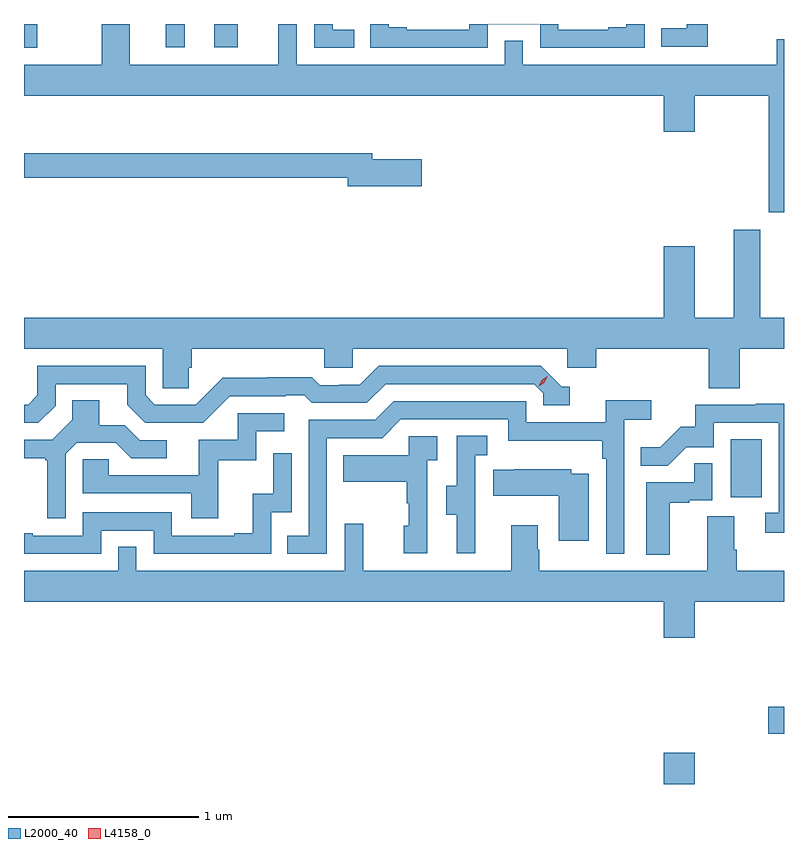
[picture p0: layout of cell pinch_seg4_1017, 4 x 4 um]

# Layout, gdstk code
import gdstk
lib = gdstk.Library(unit=1e-6, precision=1e-09)
def R(c, l, rs):  # rectangles x0, y0, x1, y1
    for r in rs: c.add(gdstk.rectangle(r[:2], r[2:], *l))
def P(c, l, *ps):  # polygons
    for p in ps: c.add(gdstk.Polygon(p, *l))
L2000_40 = (2000, 40)
L4158_0 = (4158, 0)

pinch_seg4_1017 = lib.new_cell('pinch_seg4_1017')
R(pinch_seg4_1017, L2000_40, [(812.36,751.906,812.524,752.071), (812.91,752.17,812.994,752.312), (812.714,753.414,812.878,753.721), (808.994,755.781,809.065,755.906), (809.741,755.784,809.839,755.906), (809.994,755.784,810.118,755.906)])
P(pinch_seg4_1017, L2000_40, [(811.434,755.904),(811.71,755.904),(811.71,755.781),(812.262,755.781),(812.262,755.906),(812.165,755.906),(812.165,755.89),(812.069,755.89),(812.069,755.877),(811.806,755.877),(811.806,755.906),(811.338,755.906),(811.338,755.877),(811.009,755.877),(811.009,755.89),(810.914,755.89),(810.914,755.906),(810.816,755.906),(810.816,755.781),(811.434,755.781)],
  [(812.994,755.827),(812.956,755.827),(812.956,755.692),(811.62,755.692),(811.62,755.819),(811.524,755.819),(811.524,755.692),(810.429,755.692),(810.429,755.906),(810.332,755.906),(810.332,755.692),(809.551,755.692),(809.551,755.906),(809.404,755.906),(809.404,755.692),(808.994,755.692),(808.994,755.528),(812.36,755.528),(812.36,755.34),(812.524,755.34),(812.524,755.528),(812.915,755.528),(812.915,754.914),(812.994,754.914)],
  [(810.731,755.877),(810.618,755.877),(810.618,755.906),(810.522,755.906),(810.522,755.781),(810.731,755.781)],
  [(812.593,755.906),(812.482,755.906),(812.482,755.884),(812.347,755.884),(812.347,755.787),(812.593,755.787)],
  [(811.087,755.193),(810.826,755.193),(810.826,755.227),(808.994,755.227),(808.994,755.098),(810.698,755.098),(810.698,755.051),(811.087,755.051)],
  [(809.861,754.098),(809.876,754.098),(809.876,754.196),(810.573,754.196),(810.573,754.098),(810.723,754.098),(810.723,754.196),(811.854,754.196),(811.854,754.098),(812.006,754.098),(812.006,754.196),(812.597,754.196),(812.597,753.988),(812.762,753.988),(812.762,754.196),(812.994,754.196),(812.994,754.36),(812.869,754.36),(812.869,754.822),(812.729,754.822),(812.729,754.36),(812.524,754.36),(812.524,754.735),(812.36,754.735),(812.36,754.36),(808.994,754.36),(808.994,754.196),(809.724,754.196),(809.724,753.988),(809.861,753.988)],
  [(809.16,753.897),(809.16,754.011),(809.537,754.011),(809.537,753.901),(809.631,753.807),(809.937,753.807),(810.078,753.948),(810.371,753.948),(810.371,753.951),(810.47,753.951),(810.509,753.912),(810.798,753.912),(810.897,754.011),(811.68,754.011),(811.728,753.963),(811.728,753.9),(811.867,753.9),(811.867,753.996),(811.824,753.996),(811.713,754.107),(810.86,754.107),(810.761,754.008),(810.654,754.008),(810.654,754.005),(810.551,754.005),(810.509,754.048),(810.276,754.048),(810.276,754.045),(810.04,754.045),(809.898,753.903),(809.682,753.903),(809.634,753.951),(809.634,754.107),(809.064,754.107),(809.064,753.951),(809.016,753.903),(808.994,753.903),(808.994,753.807),(809.07,753.807)],
  [(810.588,753.726),(810.879,753.726),(810.978,753.825),(811.542,753.825),(811.542,753.713),(812.038,753.713),(812.038,753.617),(812.058,753.617),(812.058,753.117),(812.154,753.117),(812.154,753.824),(812.296,753.824),(812.296,753.926),(812.057,753.926),(812.057,753.81),(811.638,753.81),(811.638,753.921),(810.941,753.921),(810.842,753.822),(810.492,753.822),(810.492,753.213),(810.379,753.213),(810.379,753.117),(810.588,753.117)],
  [(809.214,753.645),(809.271,753.702),(809.477,753.702),(809.558,753.621),(809.746,753.621),(809.746,753.714),(809.604,753.714),(809.524,753.794),(809.389,753.794),(809.389,753.926),(809.249,753.926),(809.249,753.824),(809.142,753.717),(808.994,753.717),(808.994,753.62),(809.106,753.62),(809.106,753.609),(809.117,753.609),(809.117,753.306),(809.214,753.306)],
  [(812.994,753.908),(812.845,753.908),(812.845,753.903),(812.527,753.903),(812.527,753.786),(812.45,753.786),(812.343,753.679),(812.239,753.679),(812.239,753.58),(812.382,753.58),(812.48,753.678),(812.625,753.678),(812.625,753.807),(812.967,753.807),(812.967,753.333),(812.895,753.333),(812.895,753.228),(812.994,753.228)],
  [(810.017,753.609),(810.216,753.609),(810.216,753.762),(810.364,753.762),(810.364,753.858),(810.12,753.858),(810.12,753.717),(809.915,753.717),(809.915,753.531),(809.441,753.531),(809.441,753.615),(809.304,753.615),(809.304,753.435),(809.873,753.435),(809.873,753.306),(810.017,753.306)],
  [(811.37,753.333),(811.368,753.333),(811.368,753.637),(811.432,753.637),(811.432,753.74),(811.272,753.74),(811.272,753.477),(811.217,753.477),(811.217,753.322),(811.271,753.322),(811.271,753.12),(811.37,753.12)],
  [(811.116,753.611),(811.168,753.611),(811.168,753.735),(811.02,753.735),(811.02,753.637),(810.673,753.637),(810.673,753.497),(811.008,753.497),(811.008,753.383),(811.018,753.383),(811.018,753.264),(810.992,753.264),(810.992,753.12),(811.116,753.12)],
  [(809.4,753.24),(809.676,753.24),(809.676,753.117),(810.294,753.117),(810.294,753.336),(810.402,753.336),(810.402,753.646),(810.306,753.646),(810.306,753.434),(810.197,753.434),(810.197,753.226),(810.101,753.226),(810.101,753.213),(809.772,753.213),(809.772,753.336),(809.304,753.336),(809.304,753.213),(809.041,753.213),(809.041,753.226),(808.994,753.226),(808.994,753.117),(809.4,753.117)],
  [(812.392,753.387),(812.495,753.387),(812.495,753.399),(812.616,753.399),(812.616,753.593),(812.521,753.593),(812.521,753.495),(812.27,753.495),(812.27,753.113),(812.392,753.113)],
  [(811.966,753.538),(811.875,753.538),(811.875,753.562),(811.573,753.562),(811.573,753.559),(811.465,753.559),(811.465,753.422),(811.808,753.422),(811.808,753.186),(811.966,753.186)],
  [(812.524,752.864),(812.994,752.864),(812.994,753.028),(812.744,753.028),(812.744,753.14),(812.731,753.14),(812.731,753.314),(812.591,753.314),(812.591,753.028),(811.707,753.028),(811.707,753.14),(811.699,753.14),(811.699,753.268),(811.559,753.268),(811.559,753.028),(810.779,753.028),(810.779,753.277),(810.681,753.277),(810.681,753.028),(809.586,753.028),(809.586,753.155),(809.49,753.155),(809.49,753.028),(808.994,753.028),(808.994,752.864),(812.36,752.864),(812.36,752.676),(812.524,752.676)])
P(pinch_seg4_1017, L4158_0, [(811.702,753.999),(811.702,753.999),(811.718,754.032),(811.749,754.051),(811.749,754.051),(811.749,754.05),(811.733,754.018),(811.702,753.999)])

lib.write_gds('pinch_seg4_1017.gds')
